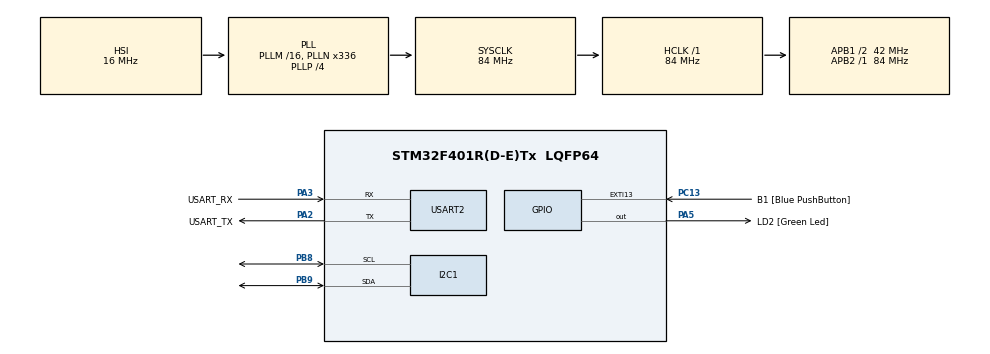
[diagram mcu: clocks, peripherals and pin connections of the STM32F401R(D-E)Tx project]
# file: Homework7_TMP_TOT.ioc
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Dma.I2C1_RX.1.Direction=DMA_PERIPH_TO_MEMORY
Dma.I2C1_RX.1.FIFOMode=DMA_FIFOMODE_DISABLE
Dma.I2C1_RX.1.Instance=DMA1_Stream0
Dma.I2C1_RX.1.MemDataAlignment=DMA_MDATAALIGN_BYTE
Dma.I2C1_RX.1.MemInc=DMA_MINC_ENABLE
Dma.I2C1_RX.1.Mode=DMA_NORMAL
Dma.I2C1_RX.1.PeriphDataAlignment=DMA_PDATAALIGN_BYTE
Dma.I2C1_RX.1.PeriphInc=DMA_PINC_DISABLE
Dma.I2C1_RX.1.Priority=DMA_PRIORITY_LOW
Dma.I2C1_TX.2.Direction=DMA_MEMORY_TO_PERIPH
Dma.I2C1_TX.2.FIFOMode=DMA_FIFOMODE_DISABLE
Dma.I2C1_TX.2.Instance=DMA1_Stream7
Dma.I2C1_TX.2.MemDataAlignment=DMA_MDATAALIGN_BYTE
Dma.I2C1_TX.2.MemInc=DMA_MINC_ENABLE
Dma.I2C1_TX.2.Mode=DMA_NORMAL
Dma.I2C1_TX.2.PeriphDataAlignment=DMA_PDATAALIGN_BYTE
Dma.I2C1_TX.2.PeriphInc=DMA_PINC_DISABLE
Dma.I2C1_TX.2.Priority=DMA_PRIORITY_LOW
Dma.Request0=USART2_TX
Dma.Request1=I2C1_RX
Dma.Request2=I2C1_TX
Dma.USART2_TX.0.Direction=DMA_MEMORY_TO_PERIPH
Dma.USART2_TX.0.FIFOMode=DMA_FIFOMODE_DISABLE
Dma.USART2_TX.0.Instance=DMA1_Stream6
Dma.USART2_TX.0.MemDataAlignment=DMA_MDATAALIGN_BYTE
Dma.USART2_TX.0.MemInc=DMA_MINC_ENABLE
Dma.USART2_TX.0.Mode=DMA_NORMAL
Dma.USART2_TX.0.PeriphDataAlignment=DMA_PDATAALIGN_BYTE
Dma.USART2_TX.0.PeriphInc=DMA_PINC_DISABLE
Dma.USART2_TX.0.Priority=DMA_PRIORITY_LOW
Mcu.Family=STM32F4
Mcu.Name=STM32F401R(D-E)Tx
Mcu.Package=LQFP64
NVIC.DMA1_Stream0_IRQn=true\:0\:0\:false\:false\:true\:false\:true\:true
NVIC.DMA1_Stream6_IRQn=true\:0\:0\:false\:false\:true\:false\:true\:true
NVIC.DMA1_Stream7_IRQn=true\:0\:0\:false\:false\:true\:false\:true\:true
NVIC.I2C1_ER_IRQn=true\:0\:0\:false\:false\:true\:true\:true\:true
NVIC.I2C1_EV_IRQn=true\:1\:0\:true\:false\:true\:true\:true\:true
NVIC.PriorityGroup=NVIC_PRIORITYGROUP_1
NVIC.TIM2_IRQn=true\:0\:0\:true\:false\:true\:true\:true\:true
NVIC.USART2_IRQn=true\:0\:0\:false\:false\:true\:true\:true\:true
PA13.GPIO_Label=TMS
PA13.Mode=Serial_Wire
PA13.Signal=SYS_JTMS-SWDIO
PA14.GPIO_Label=TCK
PA14.Mode=Serial_Wire
PA14.Signal=SYS_JTCK-SWCLK
PA2.GPIO_Label=USART_TX
PA2.GPIO_Mode=GPIO_MODE_AF_PP
PA2.GPIO_PuPd=GPIO_NOPULL
PA2.GPIO_Speed=GPIO_SPEED_FREQ_LOW
PA2.Mode=Asynchronous
PA2.Signal=USART2_TX
PA3.GPIO_Label=USART_RX
PA3.GPIO_Mode=GPIO_MODE_AF_PP
PA3.GPIO_PuPd=GPIO_NOPULL
PA3.GPIO_Speed=GPIO_SPEED_FREQ_LOW
PA3.Mode=Asynchronous
PA3.Signal=USART2_RX
PA5.GPIO_Label=LD2 [Green Led]
PA5.GPIO_Mode=GPIO_MODE_OUTPUT_PP
PA5.GPIO_PuPd=GPIO_NOPULL
PA5.GPIO_Speed=GPIO_SPEED_FREQ_LOW
PA5.Signal=GPIO_Output
PB3.GPIO_Label=SWO
PB3.Signal=SYS_JTDO-SWO
PB8.Mode=I2C
PB8.Signal=I2C1_SCL
PB9.Mode=I2C
PB9.Signal=I2C1_SDA
PC13-ANTI_TAMP.GPIO_Label=B1 [Blue PushButton]
PC13-ANTI_TAMP.GPIO_ModeDefaultEXTI=GPIO_MODE_IT_FALLING
PC13-ANTI_TAMP.GPIO_PuPd=GPIO_NOPULL
PC13-ANTI_TAMP.Signal=GPXTI13
PC14-OSC32_IN.Mode=LSE-External-Oscillator
PC14-OSC32_IN.Signal=RCC_OSC32_IN
PC15-OSC32_OUT.Mode=LSE-External-Oscillator
PC15-OSC32_OUT.Signal=RCC_OSC32_OUT
PH0\ -\ OSC_IN.Mode=HSE-External-Clock-Source
PH0\ -\ OSC_IN.Signal=RCC_OSC_IN
PH1\ -\ OSC_OUT.Mode=HSE-External-Clock-Source
PH1\ -\ OSC_OUT.Signal=RCC_OSC_OUT
ProjectManager.HeapSize=0x200
ProjectManager.StackSize=0x400
ProjectManager.TargetToolchain=STM32CubeIDE
RCC.48MHZClocksFreq_Value=48000000
RCC.AHBFreq_Value=84000000
RCC.APB1CLKDivider=RCC_HCLK_DIV2
RCC.APB1Freq_Value=42000000
RCC.APB1TimFreq_Value=84000000
RCC.APB2Freq_Value=84000000
RCC.APB2TimFreq_Value=84000000
RCC.CortexFreq_Value=84000000
RCC.HCLKFreq_Value=84000000
RCC.HSE_VALUE=8000000
RCC.HSI_VALUE=16000000
RCC.PLLN=336
RCC.PLLP=RCC_PLLP_DIV4
RCC.PLLQ=7
RCC.SYSCLKFreq_VALUE=84000000
RCC.SYSCLKSource=RCC_SYSCLKSOURCE_PLLCLK
RCC.VCOOutputFreq_Value=336000000
TIM2.Period=10000-1
TIM2.Prescaler=8400-1
USART2.VirtualMode=VM_ASYNC
VP_TIM2_VS_ClockSourceINT.Mode=Internal
board=NUCLEO-F401RE

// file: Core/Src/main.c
/* USER CODE BEGIN Header */
/**
  ******************************************************************************
  * @file           : main.c
  * @brief          : Main program body
  ******************************************************************************
  * @attention
  *
  * Copyright (c) 2024 STMicroelectronics.
  * All rights reserved.
  *
  * This software is licensed under terms that can be found in the LICENSE file
  * in the root directory of this software component.
  * If no LICENSE file comes with this software, it is provided AS-IS.
  *
  ******************************************************************************
  */
/* USER CODE END Header */
#include "main.h"

/* USER CODE BEGIN Includes */
#include "string.h"
/* USER CODE END Includes */

/* USER CODE BEGIN PD */
#define STR_LEN 16
#define NUM_TMP 2
/* USER CODE END PD */

I2C_HandleTypeDef hi2c1;
DMA_HandleTypeDef hdma_i2c1_rx;
DMA_HandleTypeDef hdma_i2c1_tx;

TIM_HandleTypeDef htim2;

UART_HandleTypeDef huart2;
DMA_HandleTypeDef hdma_usart2_tx;

/* USER CODE BEGIN PV */
/*The termometer used is a smart sensor*/
/*Here I am going to save the 2 bytes coming from the thermometer */
uint8_t tmp[NUM_TMP] = {0,0};

uint16_t tmp2 = 0;

float tx_tmp = 0.0;
/*String for UART transmission*/
char string[STR_LEN] = "\n";
int length = 0;

/*Address of the thermometer, left shifted by one (a 0 added at the right)*/
uint8_t slave_add = 0b10010000;
/*internal register address of the thermometer*/
uint8_t reg_add = 0x00;
/* USER CODE END PV */

void SystemClock_Config(void);
static void MX_GPIO_Init(void);
static void MX_DMA_Init(void);
static void MX_USART2_UART_Init(void);
static void MX_I2C1_Init(void);
static void MX_TIM2_Init(void);

/* USER CODE BEGIN 0 */

//[1 0 1 0 0 1 0 1] [1 0 0 0 0 0 0 0]
/*Every second (TIM2)*/
void HAL_TIM_PeriodElapsedCallback (TIM_HandleTypeDef *htim){
		if(htim==&htim2){

			/*Here I read the data and check if they are ok*/
			/*Parameters: (which I2C, which slave address, where to save, how big is the size of the data) */
			/*The slave address is 7 bit long; the 8th bit is a Read or Write bit: READ=1 and WRITE=0.
			 * That is why I have Slave address + 1 */
			if(HAL_I2C_Master_Receive_DMA(&hi2c1, slave_add + 1,  &tmp, sizeof(tmp)) == HAL_OK){

				/*Here I merge the 2 bytes in a variable: MSBs (temp[0]) are shifted to the right
				 * while LSBs (tmp[1]) are summed*/
				tmp2 = (tmp[0] << 8) + tmp[1];

				/*Conversion to Floating point*/
				tx_tmp = tmp2/256.0;
				/*Preparing the string for UART*/
				length = snprintf(string, STR_LEN, "TMP: %.3f \n", tx_tmp);

			}else{
				length = snprintf(string, STR_LEN, "ERROR \n");
			}
			HAL_UART_Transmit_DMA(&huart2, string, length);
	}
}

/* USER CODE END 0 */

int main(void)
{

  /* MCU Configuration--------------------------------------------------------*/

  /* Reset of all peripherals, Initializes the Flash interface and the Systick. */
  HAL_Init();

  /* Configure the system clock */
  SystemClock_Config();

  /* Initialize all configured peripherals */
  MX_GPIO_Init();
  MX_DMA_Init();
  MX_USART2_UART_Init();
  MX_I2C1_Init();
  MX_TIM2_Init();
  /* USER CODE BEGIN 2 */

  /* Here I Write on the thermometer the pointer to the internal register
   *  address that I want to read*/
  /*Parameters: (which I2C, which slave address, what to write, how big is the size of the data) */
  HAL_I2C_Master_Transmit_DMA(&hi2c1, slave_add+0, &reg_add, 1);

  __HAL_TIM_SET_COUNTER(&htim2, 0); //resetting counter of the timer
  __HAL_TIM_CLEAR_IT(&htim2, TIM_IT_UPDATE);	// clear interrupt request BEFORE enabling tim interrupt

  HAL_TIM_Base_Start_IT(&htim2);

  /* USER CODE END 2 */

  /* Infinite loop */
  while (1)
  {

  }
}

void SystemClock_Config(void)
{
  RCC_OscInitTypeDef RCC_OscInitStruct = {0};
  RCC_ClkInitTypeDef RCC_ClkInitStruct = {0};

  /** Configure the main internal regulator output voltage
  */
  __HAL_RCC_PWR_CLK_ENABLE();
  __HAL_PWR_VOLTAGESCALING_CONFIG(PWR_REGULATOR_VOLTAGE_SCALE2);

  /** Initializes the RCC Oscillators according to the specified parameters
  * in the RCC_OscInitTypeDef structure.
  */
  RCC_OscInitStruct.OscillatorType = RCC_OSCILLATORTYPE_HSI;
  RCC_OscInitStruct.HSIState = RCC_HSI_ON;
  RCC_OscInitStruct.HSICalibrationValue = RCC_HSICALIBRATION_DEFAULT;
  RCC_OscInitStruct.PLL.PLLState = RCC_PLL_ON;
  RCC_OscInitStruct.PLL.PLLSource = RCC_PLLSOURCE_HSI;
  RCC_OscInitStruct.PLL.PLLM = 16;
  RCC_OscInitStruct.PLL.PLLN = 336;
  RCC_OscInitStruct.PLL.PLLP = RCC_PLLP_DIV4;
  RCC_OscInitStruct.PLL.PLLQ = 7;
  if (HAL_RCC_OscConfig(&RCC_OscInitStruct) != HAL_OK)
  {
    Error_Handler();
  }

  /** Initializes the CPU, AHB and APB buses clocks
  */
  RCC_ClkInitStruct.ClockType = RCC_CLOCKTYPE_HCLK|RCC_CLOCKTYPE_SYSCLK
                              |RCC_CLOCKTYPE_PCLK1|RCC_CLOCKTYPE_PCLK2;
  RCC_ClkInitStruct.SYSCLKSource = RCC_SYSCLKSOURCE_PLLCLK;
  RCC_ClkInitStruct.AHBCLKDivider = RCC_SYSCLK_DIV1;
  RCC_ClkInitStruct.APB1CLKDivider = RCC_HCLK_DIV2;
  RCC_ClkInitStruct.APB2CLKDivider = RCC_HCLK_DIV1;

  if (HAL_RCC_ClockConfig(&RCC_ClkInitStruct, FLASH_LATENCY_2) != HAL_OK)
  {
    Error_Handler();
  }
}

static void MX_I2C1_Init(void)
{

  hi2c1.Instance = I2C1;
  hi2c1.Init.ClockSpeed = 100000;
  hi2c1.Init.DutyCycle = I2C_DUTYCYCLE_2;
  hi2c1.Init.OwnAddress1 = 0;
  hi2c1.Init.AddressingMode = I2C_ADDRESSINGMODE_7BIT;
  hi2c1.Init.DualAddressMode = I2C_DUALADDRESS_DISABLE;
  hi2c1.Init.OwnAddress2 = 0;
  hi2c1.Init.GeneralCallMode = I2C_GENERALCALL_DISABLE;
  hi2c1.Init.NoStretchMode = I2C_NOSTRETCH_DISABLE;
  if (HAL_I2C_Init(&hi2c1) != HAL_OK)
  {
    Error_Handler();
  }

}

static void MX_TIM2_Init(void)
{

  TIM_ClockConfigTypeDef sClockSourceConfig = {0};
  TIM_MasterConfigTypeDef sMasterConfig = {0};

  htim2.Instance = TIM2;
  htim2.Init.Prescaler = 8400-1;
  htim2.Init.CounterMode = TIM_COUNTERMODE_UP;
  htim2.Init.Period = 10000-1;
  htim2.Init.ClockDivision = TIM_CLOCKDIVISION_DIV1;
  htim2.Init.AutoReloadPreload = TIM_AUTORELOAD_PRELOAD_DISABLE;
  if (HAL_TIM_Base_Init(&htim2) != HAL_OK)
  {
    Error_Handler();
  }
  sClockSourceConfig.ClockSource = TIM_CLOCKSOURCE_INTERNAL;
  if (HAL_TIM_ConfigClockSource(&htim2, &sClockSourceConfig) != HAL_OK)
  {
    Error_Handler();
  }
  sMasterConfig.MasterOutputTrigger = TIM_TRGO_RESET;
  sMasterConfig.MasterSlaveMode = TIM_MASTERSLAVEMODE_DISABLE;
  if (HAL_TIMEx_MasterConfigSynchronization(&htim2, &sMasterConfig) != HAL_OK)
  {
    Error_Handler();
  }

}

static void MX_USART2_UART_Init(void)
{

  huart2.Instance = USART2;
  huart2.Init.BaudRate = 115200;
  huart2.Init.WordLength = UART_WORDLENGTH_8B;
  huart2.Init.StopBits = UART_STOPBITS_1;
  huart2.Init.Parity = UART_PARITY_NONE;
  huart2.Init.Mode = UART_MODE_TX_RX;
  huart2.Init.HwFlowCtl = UART_HWCONTROL_NONE;
  huart2.Init.OverSampling = UART_OVERSAMPLING_16;
  if (HAL_UART_Init(&huart2) != HAL_OK)
  {
    Error_Handler();
  }

}

static void MX_DMA_Init(void)
{

  /* DMA controller clock enable */
  __HAL_RCC_DMA1_CLK_ENABLE();

  /* DMA interrupt init */
  /* DMA1_Stream0_IRQn interrupt configuration */
  HAL_NVIC_SetPriority(DMA1_Stream0_IRQn, 0, 0);
  HAL_NVIC_EnableIRQ(DMA1_Stream0_IRQn);
  /* DMA1_Stream6_IRQn interrupt configuration */
  HAL_NVIC_SetPriority(DMA1_Stream6_IRQn, 0, 0);
  HAL_NVIC_EnableIRQ(DMA1_Stream6_IRQn);
  /* DMA1_Stream7_IRQn interrupt configuration */
  HAL_NVIC_SetPriority(DMA1_Stream7_IRQn, 0, 0);
  HAL_NVIC_EnableIRQ(DMA1_Stream7_IRQn);

}

static void MX_GPIO_Init(void)
{
  GPIO_InitTypeDef GPIO_InitStruct = {0};

  /* GPIO Ports Clock Enable */
  __HAL_RCC_GPIOC_CLK_ENABLE();
  __HAL_RCC_GPIOH_CLK_ENABLE();
  __HAL_RCC_GPIOA_CLK_ENABLE();
  __HAL_RCC_GPIOB_CLK_ENABLE();

  /*Configure GPIO pin Output Level */
  HAL_GPIO_WritePin(LD2_GPIO_Port, LD2_Pin, GPIO_PIN_RESET);

  /*Configure GPIO pin : B1_Pin */
  GPIO_InitStruct.Pin = B1_Pin;
  GPIO_InitStruct.Mode = GPIO_MODE_IT_FALLING;
  GPIO_InitStruct.Pull = GPIO_NOPULL;
  HAL_GPIO_Init(B1_GPIO_Port, &GPIO_InitStruct);

  /*Configure GPIO pin : LD2_Pin */
  GPIO_InitStruct.Pin = LD2_Pin;
  GPIO_InitStruct.Mode = GPIO_MODE_OUTPUT_PP;
  GPIO_InitStruct.Pull = GPIO_NOPULL;
  GPIO_InitStruct.Speed = GPIO_SPEED_FREQ_LOW;
  HAL_GPIO_Init(LD2_GPIO_Port, &GPIO_InitStruct);

}

void Error_Handler(void)
{
  __disable_irq();
  while (1)
  {
  }
}
